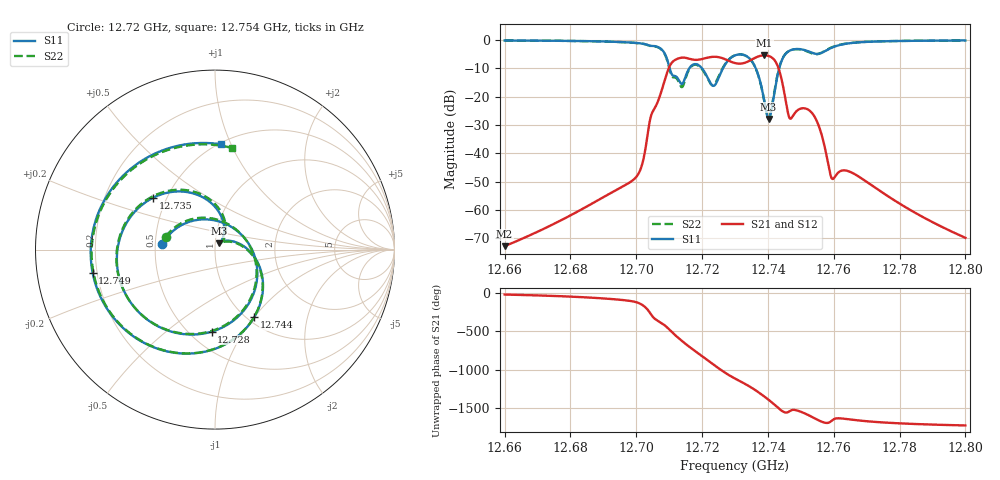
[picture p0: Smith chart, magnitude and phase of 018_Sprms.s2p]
! TOUCHSTONE file generated by CST MICROWAVE STUDIO
! Date and time: Wed Jul 31 11:30:54 2024
! Project name: WaveGuide_BPF-Ver4.1_U-shape_Ku_T3_C4_CWA_2.cst
! Parameters = {cavity_h=16; cavity_l0=10; cavity_l1=15.2206; cavity_l2=16.8226; cavity_l3=17.0947; cavity_l4=17.2669; cavity_l5=17.1517; cavity_l6=17.6213; cavity_r=2.5; cavity_screw_l=0.5; cavity_screw_r=1.5; cavity_w=8; iris_h00=0; iris_h01=8.7992; iris_h112=0; iris_h12=5.6051; iris_h211=3.6585; 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
! Header version: 2018
! Port assignment regex: !\s*Touchstone port\s*([0-9]+)\s*=\s*(CST MWS port|CST DS port)\s*([0-9]+|Zmin|Zmax)\s*\(\"(.*)\"\)(\s*mode\s*([0-9]+))?.*
! Touchstone port assignment:
! Touchstone port 1 = CST MWS port 1 ("")
! Touchstone port 2 = CST MWS port 2 ("")
# GHz S RI R 50
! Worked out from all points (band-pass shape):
!   5001 points, 12.66 GHz to 12.8 GHz, reference 50 ohm
!   highest |S21| = -5.41 dB at 12.739 GHz (marker M1); lowest = -72.7 dB at 12.66 GHz (marker M2)
!   |S21| within 3 dB of the highest: 12.71056 GHz to 12.74268 GHz (32.12 MHz wide, 0.252 % of centre)
!   lowest |S11| = -27.9 dB at 12.74 GHz (marker M3), VSWR 1.08, Z = 52 + j3.62 ohm
!   |S11| at or under -10 dB: 12.71015 GHz to 12.71611 GHz (5.957 MHz wide, 0.0469 % of centre); 12.71998 GHz to 12.72634 GHz (6.361 MHz wide, 0.05 % of centre); 12.73631 GHz to 12.74342 GHz (7.113 MHz wide, 0.0558 % of centre)
!   |S22| runs from -27.5 to -0.2 dB; largest |S21 - S12| = 1e-09
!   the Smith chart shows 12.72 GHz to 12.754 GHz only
!   S11 on the Smith chart (normalised r, x): 12.72 GHz: 0.55, +0.04; 12.728 GHz: 0.63, -0.73; 12.735 GHz: 0.42, +0.31; 12.744 GHz: 1.08, -1.00; 12.749 GHz: 0.18, -0.09; 12.754 GHz: 0.51, +0.92
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12.66  0.3271 0.9242  0.000212 -9.29e-05  0.000212 -9.29e-05  0.3366 0.9207
12.68335  0.7491 0.5963  0.000557 -0.000864  0.000557 -0.000864  0.7593 0.5824
12.70024  0.8313 -0.302  -0.00237 -0.00323  -0.00237 -0.00323  0.815 -0.3362
12.70668  0.2297 -0.7106  0.0845 -0.0129  0.0845 -0.0129  0.1751 -0.7182
12.71172  -0.0509 -0.2262  -0.4392 0.0518  -0.4392 0.0518  -0.0658 -0.2083
12.71418  0.0168 -0.173  0.0559 0.4859  0.0559 0.4859  0.00858 -0.1538
12.7169  -0.0926 -0.3449  0.4513 -0.0539  0.4513 -0.0539  -0.1108 -0.3291
12.72037  -0.2934 0.0302  -0.1883 -0.4275  -0.1883 -0.4275  -0.2753 0.0719
12.72482  0.2015 0.0091  -0.129 0.4837  -0.129 0.4837  0.2132 -0.0228
12.72826  -0.0188 -0.4573  0.4217 0.0565  0.4217 0.0565  -0.0464 -0.4605
12.73  -0.332 -0.4197  0.3235 -0.2209  0.3235 -0.2209  -0.3542 -0.4044
12.73476  -0.3427 0.29  -0.3644 -0.2473  -0.3644 -0.2473  -0.3257 0.3067
12.7389  0.0456 0.0706  -0.0245 0.5357  -0.0245 0.5357  0.0521 0.0654
12.74022  0.0205 0.0348  0.3377 0.3987  0.3377 0.3987  0.0264 0.0326
12.7442  0.2191 -0.3759  -0.00913 -0.1969  -0.00913 -0.1969  0.2108 -0.3873
12.74887  -0.6814 -0.1307  0.00103 -0.0568  0.00103 -0.0568  -0.6804 -0.1101
12.75335  -0.0387 0.5937  -0.0514 -0.00762  -0.0514 -0.00762  0.0215 0.5806
12.7536  0.0338 0.5867  -0.0498 -0.00244  -0.0498 -0.00244  0.095 0.5664
12.75682  0.6065 -0.0831  -0.00772 0.0147  -0.00772 0.0147  0.5981 -0.1642
12.76108  0.0761 -0.7901  -0.00434 0.000781  -0.00434 0.000781  0.0201 -0.8031
12.77668  -0.9139 -0.2709  -0.000631 0.00161  -0.000631 0.00161  -0.92 -0.2535
12.8  -0.9402 0.2794  7.48e-05 0.000316  7.48e-05 0.000316  -0.9375 0.2891
